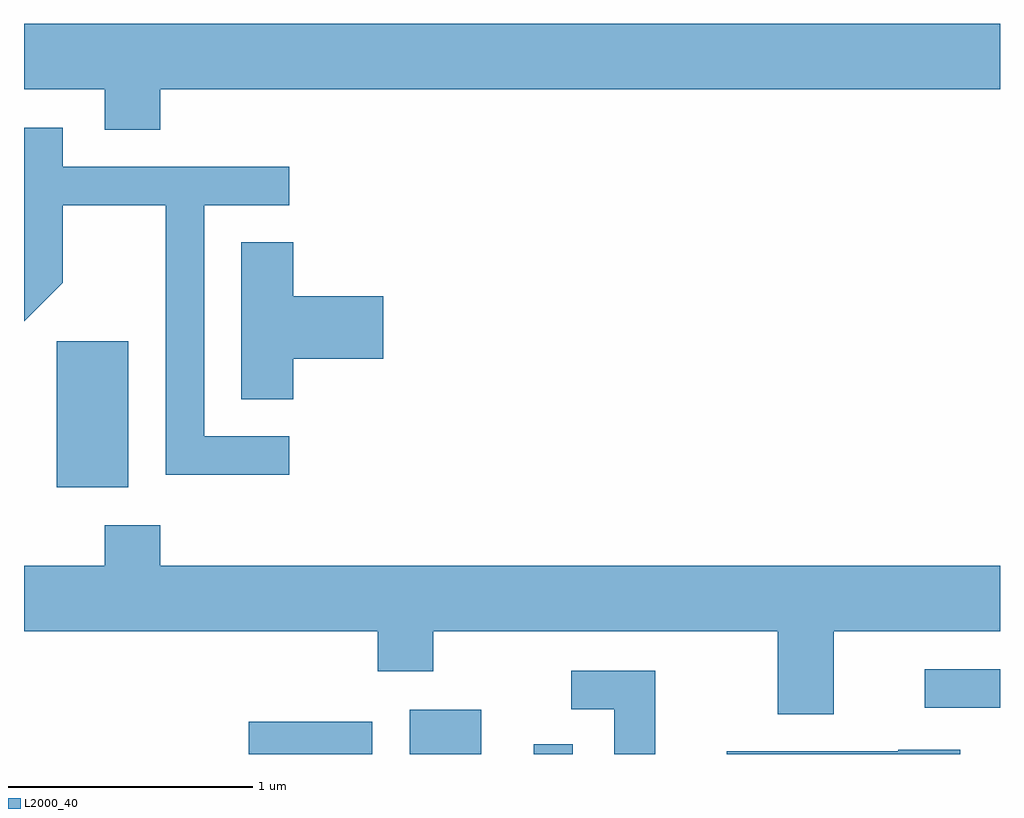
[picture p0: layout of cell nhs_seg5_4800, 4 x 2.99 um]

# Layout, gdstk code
import gdstk
lib = gdstk.Library(unit=1e-6, precision=1e-09)
def R(c, l, rs):  # rectangles x0, y0, x1, y1
    for r in rs: c.add(gdstk.rectangle(r[:2], r[2:], *l))
def P(c, l, *ps):  # polygons
    for p in ps: c.add(gdstk.Polygon(p, *l))
L2000_40 = (2000, 40)

nhs_seg5_4800 = lib.new_cell('nhs_seg5_4800')
R(nhs_seg5_4800, L2000_40, [(328.533,1454.072,329.039,1454.204), (329.191,1454.072,329.484,1454.254), (329.701,1454.072,329.859,1454.113), (331.303,1454.261,331.611,1454.419), (327.746,1455.166,328.039,1455.764)])
P(nhs_seg5_4800, L2000_40, [(328.169,1456.796),(331.611,1456.796),(331.611,1457.064),(327.611,1457.064),(327.611,1456.796),(327.941,1456.796),(327.941,1456.631),(328.169,1456.631)],
  [(328.698,1455.374),(328.349,1455.374),(328.349,1456.321),(328.698,1456.321),(328.698,1456.479),(327.769,1456.479),(327.769,1456.639),(327.611,1456.639),(327.611,1455.846),(327.769,1456.004),(327.769,1456.321),(328.191,1456.321),(328.191,1455.216),(328.698,1455.216)],
  [(328.714,1455.691),(329.084,1455.691),(329.084,1455.949),(328.714,1455.949),(328.714,1456.169),(328.501,1456.169),(328.501,1455.526),(328.714,1455.526)],
  [(330.929,1454.576),(331.611,1454.576),(331.611,1454.844),(328.169,1454.844),(328.169,1455.009),(327.941,1455.009),(327.941,1454.844),(327.611,1454.844),(327.611,1454.576),(329.061,1454.576),(329.061,1454.411),(329.289,1454.411),(329.289,1454.576),(330.701,1454.576),(330.701,1454.236),(330.929,1454.236)],
  [(330.199,1454.414),(329.853,1454.414),(329.853,1454.256),(330.031,1454.256),(330.031,1454.072),(330.199,1454.072)],
  [(331.449,1454.089),(331.195,1454.089),(331.195,1454.084),(330.491,1454.084),(330.491,1454.072),(331.449,1454.072)])

lib.write_gds('nhs_seg5_4800.gds')
